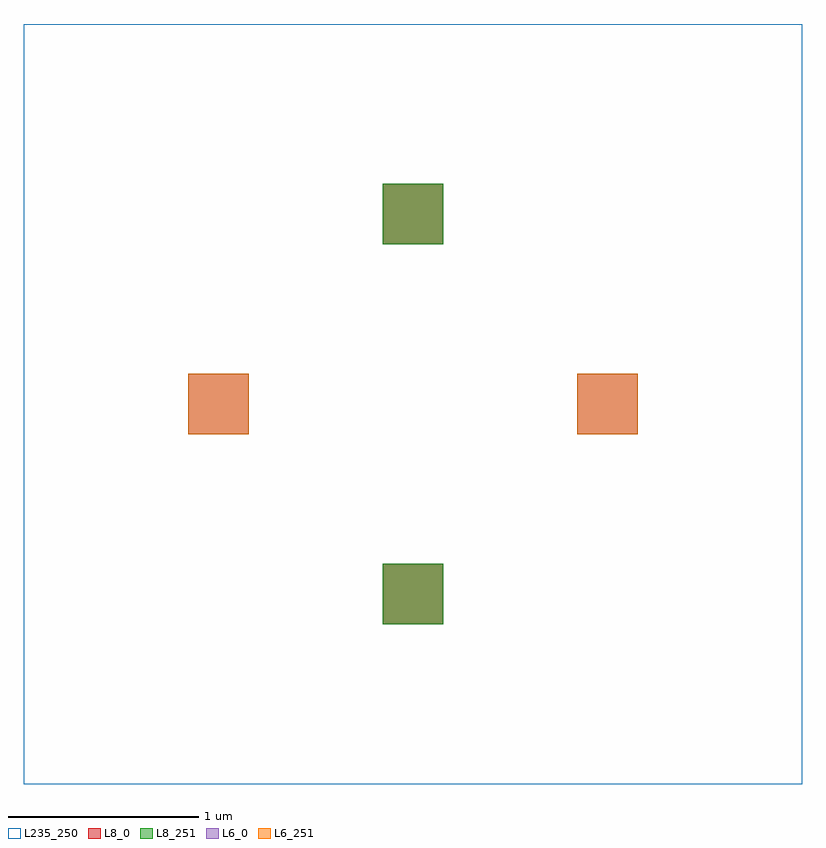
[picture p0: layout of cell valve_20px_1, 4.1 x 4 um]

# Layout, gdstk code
import gdstk
lib = gdstk.Library(unit=1e-6, precision=1e-09)
def R(c, l, rs):  # rectangles x0, y0, x1, y1
    for r in rs: c.add(gdstk.rectangle(r[:2], r[2:], *l))
L6_0 = (6, 0)
L6_251 = (6, 251)
L8_0 = (8, 0)
L8_251 = (8, 251)
L235_250 = (235, 250)

valve_20px_1 = lib.new_cell('valve_20px_1')
R(valve_20px_1, L6_0, [(0.864,1.84,1.184,2.16), (2.912,1.84,3.232,2.16)])
R(valve_20px_1, L6_251, [(0.864,1.84,1.184,2.16), (2.912,1.84,3.232,2.16)])
R(valve_20px_1, L8_0, [(1.888,0.84,2.208,1.16), (1.888,2.84,2.208,3.16)])
R(valve_20px_1, L8_251, [(1.888,0.84,2.208,1.16), (1.888,2.84,2.208,3.16)])
R(valve_20px_1, L235_250, [(0,0,4.096,4)])

lib.write_gds('valve_20px_1.gds')
